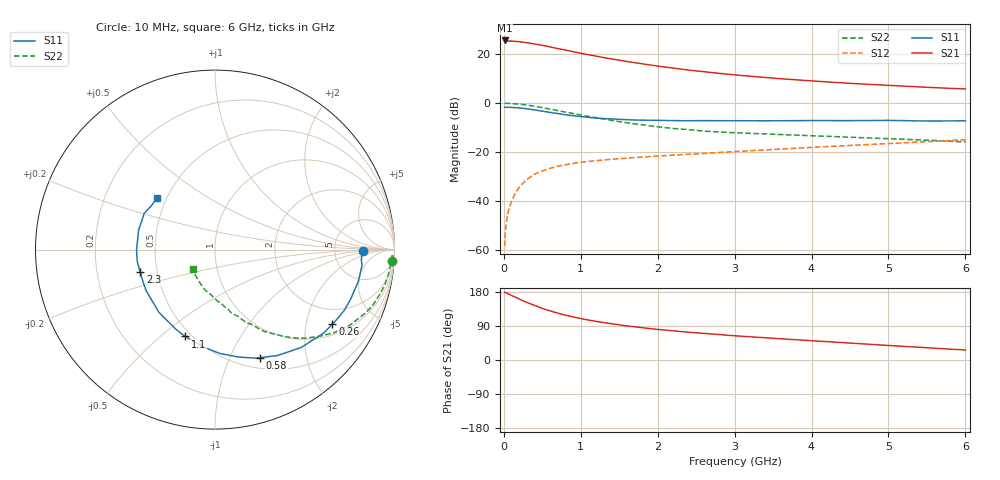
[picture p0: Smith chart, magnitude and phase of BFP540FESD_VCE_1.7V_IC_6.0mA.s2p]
! Infineon Technologies  Discrete & RF Semiconductors
! BFP540FESD
! VCE =  1.7 V,  IC =  6.0 mA
! Common Emitter S-Parameters:  Nov 2015
# GHz  S  MA  R  50
!  f  S11  S21  S12  S22
! GHz  MAG  ANG  MAG  ANG  MAG  ANG  MAG  ANG
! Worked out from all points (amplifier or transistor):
!   210 points, 10 MHz to 6 GHz, reference 50 ohm
!   highest |S21| = 25.6 dB at 10 MHz (marker M1)
!   |S21| within 3 dB of that: start of sweep to 655.7 MHz
!   unconditionally stable (mu >= 1): 2.56 GHz to end of sweep
!   at 185 MHz: K = 0.10, MSG = 30.1 dB, |S12| = -35.0 dB
!   at 1.52 GHz: K = 0.69, MSG = 20.0 dB, |S12| = -22.7 dB
!   at 6 GHz: K = 1.28, MAG = 7.2 dB, |S12| = -15.0 dB
!   S11 on the Smith chart (normalised r, x): 10 MHz: 10, -0; 260 MHz: 1.37, -2.85; 580 MHz: 0.62, -1.31; 1.1 GHz: 0.46, -0.61; 2.3 GHz: 0.40, -0.13; 6 GHz: 0.44, +0.31
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0.01  0.8226 -0.4  18.95 178.7  0.0012 94.5  0.9872 -3.6
0.02  0.8173 -3.9  18.45 178.1  0.0023 88.4  0.9895 -1.5
0.06  0.8218 -7.4  18.45 174.4  0.0063 85.7  0.9817 -4.7
0.15  0.8059 -19.6  18.27 165.8  0.0144 81.4  0.9666 -11.8
0.2  0.796 -25.1  17.86 160.8  0.0191 77.6  0.9497 -15.6
0.26  0.7752 -32.4  17.41 155.6  0.0241 74.6  0.9284 -20.0
0.3  0.7632 -37.5  17.11 151.9  0.0275 72.7  0.9101 -22.8
0.4  0.727 -48.5  16.13 143.7  0.0354 66.3  0.8616 -29.3
0.5  0.6856 -59.4  15.11 136.1  0.0414 62.2  0.8059 -35.2
0.58  0.6524 -67.3  14.19 130.8  0.0454 59.1  0.7617 -39.1
0.8  0.5796 -87.2  12.07 118.2  0.0551 52.9  0.6516 -49.0
0.9  0.5525 -94.7  11.18 113.4  0.0584 50.1  0.6073 -52.3
1.02  0.5256 -103.1  10.25 108.5  0.0624 48.3  0.562 -56.1
1.1  0.5117 -108.9  9.693 105.3  0.0644 47.4  0.533 -58.9
1.24  0.4897 -117.8  8.792 100.5  0.0677 46.0  0.4873 -62.1
1.5  0.4679 -132.4  7.467 92.5  0.0727 43.5  0.4187 -68.8
2.02  0.4407 -154.8  5.632 80.3  0.0833 41.7  0.3248 -80.2
2.3  0.4354 -163.1  4.938 75.2  0.0883 41.2  0.2952 -85.0
3.1  0.4358 178.4  3.645 62.6  0.1043 40.1  0.2443 -98.3
4.1  0.4389 164.3  2.764 49.7  0.1269 38.5  0.2128 -110.6
5.1  0.4399 151.5  2.254 37.2  0.1528 34.0  0.1855 -123.2
6  0.4339 138.3  1.941 26.3  0.1778 29.1  0.1609 -139.0
